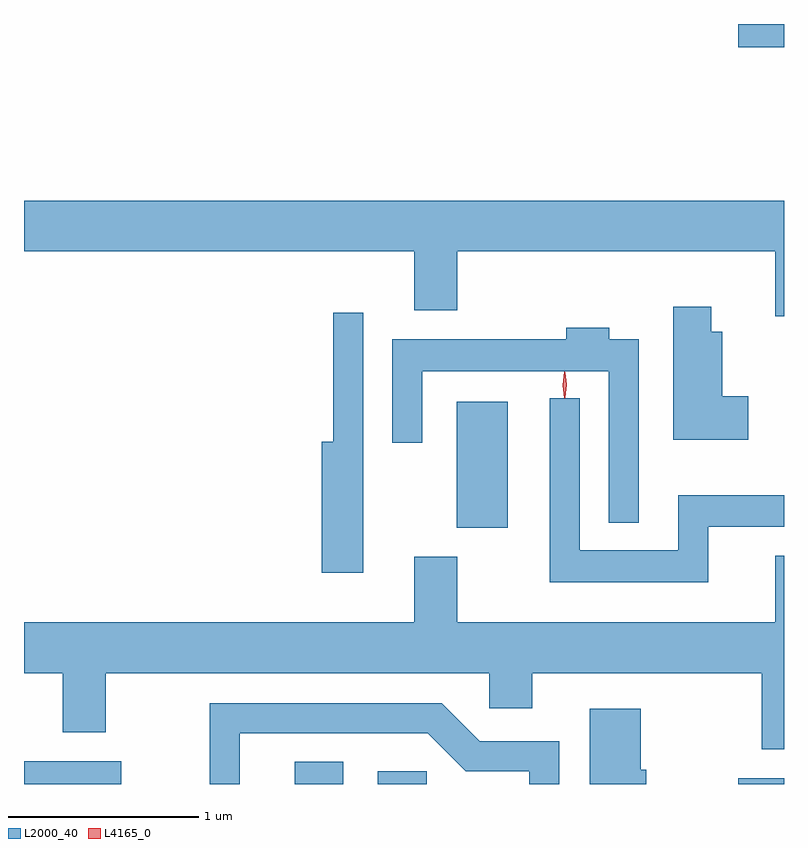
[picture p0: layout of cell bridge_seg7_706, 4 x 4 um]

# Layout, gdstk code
import gdstk
lib = gdstk.Library(unit=1e-6, precision=1e-09)
def R(c, l, rs):  # rectangles x0, y0, x1, y1
    for r in rs: c.add(gdstk.rectangle(r[:2], r[2:], *l))
def P(c, l, *ps):  # polygons
    for p in ps: c.add(gdstk.Polygon(p, *l))
L2000_40 = (2000, 40)
L4165_0 = (4165, 0)

bridge_seg7_706 = lib.new_cell('bridge_seg7_706')
R(bridge_seg7_706, L2000_40, [(589.278,1735.933,589.789,1736.054), (590.703,1735.933,590.959,1736.049), (591.141,1735.933,591.398,1735.999), (593.036,1735.933,593.278,1735.964), (591.556,1737.281,591.824,1737.944), (593.036,1739.811,593.278,1739.933)])
P(bridge_seg7_706, L2000_40, [(593.278,1739.004),(589.278,1739.004),(589.278,1738.736),(591.331,1738.736),(591.331,1738.426),(591.559,1738.426),(591.559,1738.736),(593.231,1738.736),(593.231,1738.396),(593.278,1738.396)],
  [(593.089,1737.974),(592.954,1737.974),(592.954,1738.314),(592.894,1738.314),(592.894,1738.444),(592.696,1738.444),(592.696,1737.746),(593.089,1737.746)],
  [(591.064,1738.413),(590.906,1738.413),(590.906,1737.734),(590.846,1737.734),(590.846,1737.046),(591.064,1737.046)],
  [(592.514,1738.274),(592.359,1738.274),(592.359,1738.334),(592.131,1738.334),(592.131,1738.274),(591.216,1738.274),(591.216,1737.728),(591.374,1737.728),(591.374,1738.106),(592.356,1738.106),(592.356,1737.308),(592.514,1737.308)],
  [(592.879,1737.286),(593.278,1737.286),(593.278,1737.454),(592.721,1737.454),(592.721,1737.164),(592.204,1737.164),(592.204,1737.963),(592.046,1737.963),(592.046,1736.996),(592.879,1736.996)],
  [(593.278,1737.134),(593.231,1737.134),(593.231,1736.784),(591.559,1736.784),(591.559,1737.129),(591.331,1737.129),(591.331,1736.784),(589.278,1736.784),(589.278,1736.516),(589.481,1736.516),(589.481,1736.206),(589.709,1736.206),(589.709,1736.516),(591.726,1736.516),(591.726,1736.331),(591.954,1736.331),(591.954,1736.516),(593.161,1736.516),(593.161,1736.116),(593.278,1736.116)],
  [(590.414,1736.201),(591.404,1736.201),(591.604,1736.001),(591.936,1736.001),(591.936,1735.933),(592.094,1735.933),(592.094,1736.159),(591.677,1736.159),(591.477,1736.359),(590.256,1736.359),(590.256,1735.933),(590.414,1735.933)],
  [(592.554,1736.009),(592.524,1736.009),(592.524,1736.329),(592.256,1736.329),(592.256,1735.933),(592.554,1735.933)])
P(bridge_seg7_706, L4165_0, [(592.123,1737.963),(592.122,1737.964),(592.113,1738.033),(592.122,1738.102),(592.123,1738.103),(592.123,1738.102),(592.133,1738.033),(592.123,1737.964)],
  [(592.125,1737.967),(592.125,1737.967),(592.115,1738.034),(592.125,1738.1),(592.125,1738.1),(592.126,1738.1),(592.135,1738.034),(592.126,1737.967)])

lib.write_gds('bridge_seg7_706.gds')
